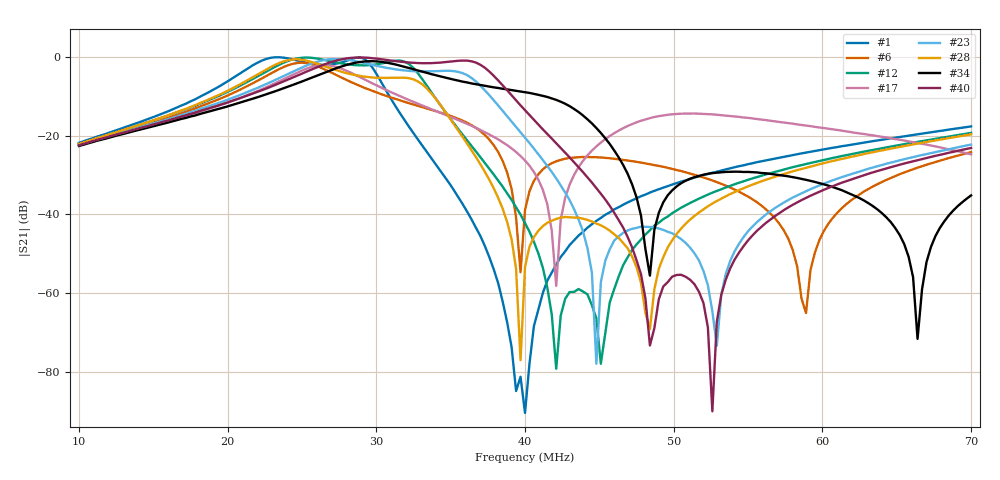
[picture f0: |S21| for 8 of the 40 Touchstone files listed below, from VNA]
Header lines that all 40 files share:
#  HZ  S  RI  R  50.00
! Rohde & Schwarz ZVT8 8Ports - Version 4.11 - 1300.0000k08 SN: 100242
! Measurements: S11 S21 S12 S22
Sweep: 10 MHz to 70 MHz
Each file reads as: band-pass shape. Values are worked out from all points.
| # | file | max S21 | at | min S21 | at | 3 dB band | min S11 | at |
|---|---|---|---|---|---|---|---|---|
| 1 | CA_10p00_CG10p00.s2p | -0.10 dB | 23.2 MHz | -90.4 dB | 40 MHz | 21.4 MHz-29.8 MHz | -28.8 dB | 28.9 MHz |
| 2 | CA_10p00_CG15p00.s2p | -0.17 dB | 23.8 MHz | -87.4 dB | 42.1 MHz | 22 MHz-30.4 MHz | -16.9 dB | 23.8 MHz |
| 3 | CA_10p00_CG20p00.s2p | -0.40 dB | 24.4 MHz | -85.4 dB | 45.1 MHz | 22.3 MHz-28 MHz | -11.4 dB | 24.4 MHz |
| 4 | CA_10p00_CG25p00.s2p | -0.71 dB | 24.7 MHz | -71.9 dB | 48.7 MHz | 22.6 MHz-27.4 MHz | -8.5 dB | 24.7 MHz |
| 5 | CA_10p00_CG30p00.s2p | -1.09 dB | 24.7 MHz | -70.6 dB | 52.9 MHz | 22.6 MHz-27.1 MHz | -6.8 dB | 24.7 MHz |
| 6 | CA_10p00_CG35p00.s2p | -1.48 dB | 25 MHz | -65.0 dB | 58.9 MHz | 22.9 MHz-27.1 MHz | -5.6 dB | 25 MHz |
| 7 | CA_10p00_CG40p00.s2p | -1.87 dB | 25 MHz | -67.9 dB | 66.7 MHz | 23.2 MHz-27.1 MHz | -4.7 dB | 25 MHz |
| 8 | CA_10p00_CG45p00.s2p | -2.23 dB | 25.3 MHz | -58.8 dB | 39.7 MHz | 23.2 MHz-27.1 MHz | -4.0 dB | 25.3 MHz |
| 9 | CA_10p00_CG48p00.s2p | -2.43 dB | 25.3 MHz | -59.7 dB | 39.7 MHz | 23.2 MHz-27.1 MHz | -3.7 dB | 25.3 MHz |
| 10 | CA_15p00_CG10p00.s2p | -0.14 dB | 23.8 MHz | -92.4 dB | 42.1 MHz | 22 MHz-30.4 MHz | -19.1 dB | 23.8 MHz |
| 11 | CA_15p00_CG15p00.s2p | -0.07 dB | 24.7 MHz | -93.6 dB | 42.4 MHz | 22.6 MHz-31.3 MHz | -30.6 dB | 24.7 MHz |
| 12 | CA_15p00_CG20p00.s2p | -0.17 dB | 25.3 MHz | -79.2 dB | 42.1 MHz | 22.9 MHz-32.5 MHz | -15.8 dB | 25.3 MHz |
| 13 | CA_15p00_CG25p00.s2p | -0.43 dB | 25.6 MHz | -91.8 dB | 48.7 MHz | 23.5 MHz-29.8 MHz | -10.8 dB | 25.6 MHz |
| 14 | CA_15p00_CG30p00.s2p | -0.83 dB | 25.9 MHz | -74.1 dB | 53.2 MHz | 23.8 MHz-28.9 MHz | -7.9 dB | 25.9 MHz |
| 15 | CA_15p00_CG35p00.s2p | -1.24 dB | 26.2 MHz | -74.4 dB | 58.9 MHz | 23.8 MHz-28.9 MHz | -6.2 dB | 26.2 MHz |
| 16 | CA_15p00_CG40p00.s2p | -1.69 dB | 26.5 MHz | -64.1 dB | 66.7 MHz | 24.1 MHz-28.6 MHz | -5.1 dB | 26.5 MHz |
| 17 | CA_15p00_CG45p00.s2p | -2.08 dB | 26.5 MHz | -58.1 dB | 42.1 MHz | 24.1 MHz-28.6 MHz | -4.3 dB | 26.5 MHz |
| 18 | CA_15p00_CG48p00.s2p | -2.31 dB | 26.5 MHz | -60.1 dB | 42.1 MHz | 24.4 MHz-28.6 MHz | -3.9 dB | 26.5 MHz |
| 19 | CA_20p00_CG10p00.s2p | -0.33 dB | 24.4 MHz | -90.0 dB | 44.8 MHz | 22.3 MHz-31.3 MHz | -12.9 dB | 24.4 MHz |
| 20 | CA_20p00_CG15p00.s2p | -0.13 dB | 25.3 MHz | -90.3 dB | 42.1 MHz | 22.9 MHz-32.2 MHz | -18.8 dB | 25.3 MHz |
| 21 | CA_20p00_CG20p00.s2p | -0.07 dB | 26.2 MHz | -87.6 dB | 45.1 MHz | 23.8 MHz-33.4 MHz | -29.6 dB | 26.2 MHz |
| 22 | CA_20p00_CG25p00.s2p | -0.20 dB | 26.8 MHz | -80.9 dB | 44.8 MHz | 24.1 MHz-34.6 MHz | -15.2 dB | 26.8 MHz |
| 23 | CA_20p00_CG30p00.s2p | -0.50 dB | 27.4 MHz | -77.9 dB | 44.8 MHz | 24.7 MHz-31.9 MHz | -10.1 dB | 27.4 MHz |
| 24 | CA_20p00_CG35p00.s2p | -0.94 dB | 27.7 MHz | -70.6 dB | 44.8 MHz | 25 MHz-31 MHz | -7.4 dB | 27.7 MHz |
| 25 | CA_20p00_CG40p00.s2p | -1.42 dB | 28 MHz | -66.8 dB | 66.4 MHz | 25.3 MHz-30.7 MHz | -5.7 dB | 28 MHz |
| 26 | CA_20p00_CG45p00.s2p | -1.85 dB | 28 MHz | -62.2 dB | 44.8 MHz | 25.3 MHz-30.7 MHz | -4.7 dB | 28 MHz |
| 27 | CA_20p00_CG48p00.s2p | -2.12 dB | 28 MHz | -64.1 dB | 44.8 MHz | 25.6 MHz-30.7 MHz | -4.2 dB | 28 MHz |
| 28 | CA_25p00_CG10p00.s2p | -0.62 dB | 24.7 MHz | -77.0 dB | 39.7 MHz | 22.6 MHz-27.4 MHz | -9.5 dB | 24.7 MHz |
| 29 | CA_25p00_CG15p00.s2p | -0.37 dB | 25.9 MHz | -78.9 dB | 48.4 MHz | 23.5 MHz-33.1 MHz | -12.1 dB | 25.9 MHz |
| 30 | CA_25p00_CG20p00.s2p | -0.15 dB | 26.8 MHz | -89.5 dB | 48.4 MHz | 24.4 MHz-34.6 MHz | -18.0 dB | 26.8 MHz |
| 31 | CA_25p00_CG25p00.s2p | -0.06 dB | 28 MHz | -96.0 dB | 48.4 MHz | 25 MHz-35.8 MHz | -30.8 dB | 28 MHz |
| 32 | CA_25p00_CG30p00.s2p | -0.22 dB | 28.9 MHz | -77.5 dB | 52.9 MHz | 25.9 MHz-37.3 MHz | -14.0 dB | 28.9 MHz |
| 33 | CA_25p00_CG35p00.s2p | -0.60 dB | 29.2 MHz | -75.8 dB | 58.6 MHz | 26.2 MHz-34.3 MHz | -9.2 dB | 29.2 MHz |
| 34 | CA_25p00_CG40p00.s2p | -1.10 dB | 29.8 MHz | -71.6 dB | 66.4 MHz | 26.5 MHz-33.4 MHz | -6.7 dB | 29.8 MHz |
| 35 | CA_25p00_CG45p00.s2p | -1.61 dB | 29.8 MHz | -49.8 dB | 48.4 MHz | 26.8 MHz-33.1 MHz | -5.2 dB | 29.8 MHz |
| 36 | CA_25p00_CG48p00.s2p | -1.90 dB | 29.8 MHz | -51.3 dB | 48.4 MHz | 26.8 MHz-33.1 MHz | -4.6 dB | 29.8 MHz |
| 37 | CA_30p00_CG10p00.s2p | -0.99 dB | 24.7 MHz | -78.8 dB | 52.6 MHz | 22.9 MHz-27.1 MHz | -7.5 dB | 24.7 MHz |
| 38 | CA_30p00_CG15p00.s2p | -0.71 dB | 26.2 MHz | -82.5 dB | 52.6 MHz | 23.8 MHz-29.2 MHz | -8.8 dB | 25.9 MHz |
| 39 | CA_30p00_CG20p00.s2p | -0.41 dB | 27.4 MHz | -84.0 dB | 52.6 MHz | 24.7 MHz-35.2 MHz | -11.4 dB | 27.4 MHz |
| 40 | CA_30p00_CG25p00.s2p | -0.15 dB | 28.9 MHz | -90.0 dB | 52.6 MHz | 25.9 MHz-37.3 MHz | -16.9 dB | 28.9 MHz |
